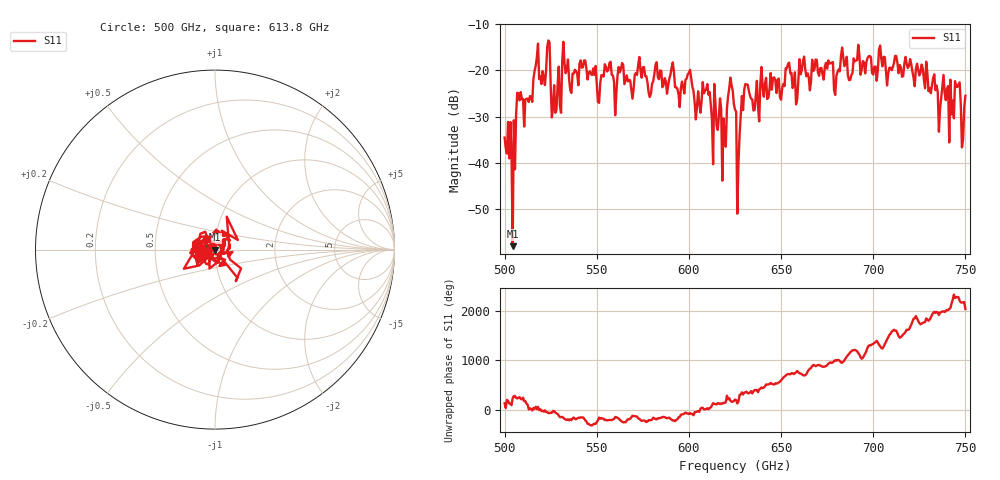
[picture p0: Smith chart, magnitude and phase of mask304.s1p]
!Created with skrf (http://scikit-rf.org).
# GHz S MA R 50.0
!freq magS11 angS11
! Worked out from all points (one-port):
!   401 points, 500 GHz to 750 GHz, reference 50 ohm
!   lowest |S11| = -57.9 dB at 504.4 GHz (marker M1), VSWR 1.00, Z = 49.9 - j0.113 ohm
!   |S11| at or under -10 dB: start of sweep to end of sweep
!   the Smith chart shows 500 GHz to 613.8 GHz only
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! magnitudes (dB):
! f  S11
! 500 GHz  -34.5
! 504.4 GHz  -57.9
! 507.5 GHz  -25.0
! 513.8 GHz  -25.5
! 516.9 GHz  -19.0
! 520.6 GHz  -20.2
! 523.8 GHz  -13.5
! 526.9 GHz  -23.2
! 531.2 GHz  -18.2
! 560 GHz  -29.7
! 562.5 GHz  -20.4
! 578.8 GHz  -25.7
! 590.6 GHz  -19.3
! 593.8 GHz  -24.0
! 608.8 GHz  -24.4
! 619.4 GHz  -34.2
! 622.5 GHz  -21.5
! 625 GHz  -28.4
! 627.5 GHz  -33.9
! 631.2 GHz  -23.0
! 636.9 GHz  -22.3
! 656.2 GHz  -23.8
! 680 GHz  -21.2
! 683.8 GHz  -17.3
! 687.5 GHz  -22.1
! 691.2 GHz  -17.8
! 718.8 GHz  -19.5
! 750 GHz  -25.5
